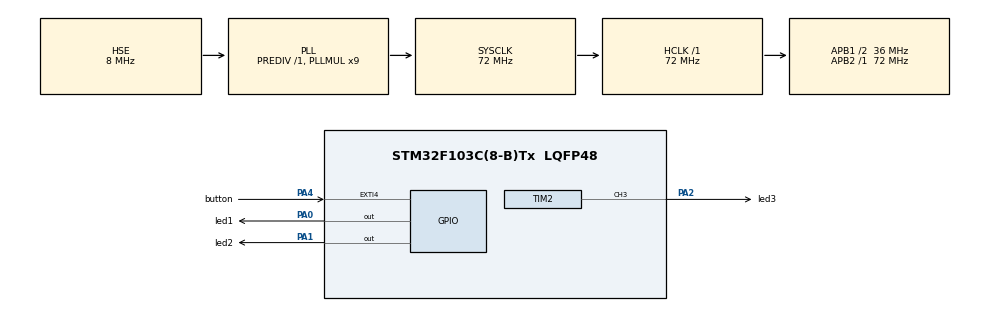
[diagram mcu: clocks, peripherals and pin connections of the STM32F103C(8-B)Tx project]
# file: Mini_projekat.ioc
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Mcu.Family=STM32F1
Mcu.Name=STM32F103C(8-B)Tx
Mcu.Package=LQFP48
NVIC.EXTI4_IRQn=true\:0\:0\:false\:false\:true\:true\:true\:true
NVIC.PriorityGroup=NVIC_PRIORITYGROUP_4
NVIC.TIM1_UP_IRQn=true\:0\:0\:false\:false\:true\:true\:true\:true
NVIC.TIM2_IRQn=true\:0\:0\:false\:false\:true\:true\:true\:true
PA0-WKUP.GPIO_Label=led1
PA0-WKUP.Signal=GPIO_Output
PA1.GPIO_Label=led2
PA1.Signal=GPIO_Output
PA13.Mode=Serial_Wire
PA13.Signal=SYS_JTMS-SWDIO
PA14.Mode=Serial_Wire
PA14.Signal=SYS_JTCK-SWCLK
PA2.GPIO_Label=led3
PA2.Signal=S_TIM2_CH3
PA4.GPIO_Label=button
PA4.GPIO_ModeDefaultEXTI=GPIO_MODE_IT_RISING_FALLING
PA4.GPIO_PuPd=GPIO_PULLDOWN
PA4.Signal=GPXTI4
PD0-OSC_IN.Mode=HSE-External-Oscillator
PD0-OSC_IN.Signal=RCC_OSC_IN
PD1-OSC_OUT.Mode=HSE-External-Oscillator
PD1-OSC_OUT.Signal=RCC_OSC_OUT
ProjectManager.HeapSize=0x200
ProjectManager.StackSize=0x400
ProjectManager.TargetToolchain=STM32CubeIDE
RCC.AHBFreq_Value=72000000
RCC.APB1CLKDivider=RCC_HCLK_DIV2
RCC.APB1Freq_Value=36000000
RCC.APB1TimFreq_Value=72000000
RCC.APB2Freq_Value=72000000
RCC.APB2TimFreq_Value=72000000
RCC.HCLKFreq_Value=72000000
RCC.PLLMUL=RCC_PLL_MUL9
RCC.PLLSourceVirtual=RCC_PLLSOURCE_HSE
RCC.SYSCLKFreq_VALUE=72000000
RCC.SYSCLKSource=RCC_SYSCLKSOURCE_PLLCLK
RCC.USBFreq_Value=72000000
SH.S_TIM2_CH3.0=TIM2_CH3,PWM Generation3 CH3
TIM1.Period=4000-1
TIM1.Prescaler=36000-1
TIM2.Channel-PWM\ Generation3\ CH3=TIM_CHANNEL_3
TIM2.Period=1000-1
TIM2.Prescaler=72-1
VP_TIM1_VS_ClockSourceINT.Mode=Internal
VP_TIM2_VS_ClockSourceINT.Mode=Internal
board=custom

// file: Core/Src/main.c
/* USER CODE BEGIN Header */
/**
  ******************************************************************************
  * @file           : main.c
  * @brief          : Main program body
  ******************************************************************************
  * @attention
  *
  * Copyright (c) 2023 STMicroelectronics.
  * All rights reserved.
  *
  * This software is licensed under terms that can be found in the LICENSE file
  * in the root directory of this software component.
  * If no LICENSE file comes with this software, it is provided AS-IS.
  *
  ******************************************************************************
  */
/* USER CODE END Header */
#include "main.h"

TIM_HandleTypeDef htim1;
TIM_HandleTypeDef htim2;

/* USER CODE BEGIN PV */
const uint32_t MAX_COUNT = 100; //pitaj cemu ovo sluzi
uint32_t INCREMENT = 100;
uint32_t count = 0;
int32_t value = 0;
/* USER CODE END PV */

void SystemClock_Config(void);
static void MX_GPIO_Init(void);
static void MX_TIM1_Init(void);
static void MX_TIM2_Init(void);

int main(void)
{

  /* MCU Configuration--------------------------------------------------------*/

  /* Reset of all peripherals, Initializes the Flash interface and the Systick. */
  HAL_Init();

  /* Configure the system clock */
  SystemClock_Config();

  /* Initialize all configured peripherals */
  MX_GPIO_Init();
  MX_TIM1_Init();
  MX_TIM2_Init();
  /* USER CODE BEGIN 2 */
  __HAL_TIM_CLEAR_IT(&htim1, TIM_IT_UPDATE);
  HAL_TIM_Base_Start_IT(&htim2);
  HAL_TIM_OC_Start(&htim2, TIM_CHANNEL_3); //ide na ch3 jer smo diodu 3 stavili na taj kanal 3
  /* USER CODE END 2 */

  /* Infinite loop */
  while (1)
  {

    /* USER CODE BEGIN 3 */
	  HAL_GPIO_TogglePin(led1_GPIO_Port, led1_Pin);
	  HAL_Delay(500);
  }
  /* USER CODE END 3 */
}

void SystemClock_Config(void)
{
  RCC_OscInitTypeDef RCC_OscInitStruct = {0};
  RCC_ClkInitTypeDef RCC_ClkInitStruct = {0};

  /** Initializes the RCC Oscillators according to the specified parameters
  * in the RCC_OscInitTypeDef structure.
  */
  RCC_OscInitStruct.OscillatorType = RCC_OSCILLATORTYPE_HSE;
  RCC_OscInitStruct.HSEState = RCC_HSE_ON;
  RCC_OscInitStruct.HSEPredivValue = RCC_HSE_PREDIV_DIV1;
  RCC_OscInitStruct.HSIState = RCC_HSI_ON;
  RCC_OscInitStruct.PLL.PLLState = RCC_PLL_ON;
  RCC_OscInitStruct.PLL.PLLSource = RCC_PLLSOURCE_HSE;
  RCC_OscInitStruct.PLL.PLLMUL = RCC_PLL_MUL9;
  if (HAL_RCC_OscConfig(&RCC_OscInitStruct) != HAL_OK)
  {
    Error_Handler();
  }

  /** Initializes the CPU, AHB and APB buses clocks
  */
  RCC_ClkInitStruct.ClockType = RCC_CLOCKTYPE_HCLK|RCC_CLOCKTYPE_SYSCLK
                              |RCC_CLOCKTYPE_PCLK1|RCC_CLOCKTYPE_PCLK2;
  RCC_ClkInitStruct.SYSCLKSource = RCC_SYSCLKSOURCE_PLLCLK;
  RCC_ClkInitStruct.AHBCLKDivider = RCC_SYSCLK_DIV1;
  RCC_ClkInitStruct.APB1CLKDivider = RCC_HCLK_DIV2;
  RCC_ClkInitStruct.APB2CLKDivider = RCC_HCLK_DIV1;

  if (HAL_RCC_ClockConfig(&RCC_ClkInitStruct, FLASH_LATENCY_2) != HAL_OK)
  {
    Error_Handler();
  }
}

static void MX_TIM1_Init(void)
{

  TIM_ClockConfigTypeDef sClockSourceConfig = {0};
  TIM_MasterConfigTypeDef sMasterConfig = {0};

  htim1.Instance = TIM1;
  htim1.Init.Prescaler = 36000-1;
  htim1.Init.CounterMode = TIM_COUNTERMODE_UP;
  htim1.Init.Period = 4000-1;
  htim1.Init.ClockDivision = TIM_CLOCKDIVISION_DIV1;
  htim1.Init.RepetitionCounter = 0;
  htim1.Init.AutoReloadPreload = TIM_AUTORELOAD_PRELOAD_DISABLE;
  if (HAL_TIM_Base_Init(&htim1) != HAL_OK)
  {
    Error_Handler();
  }
  sClockSourceConfig.ClockSource = TIM_CLOCKSOURCE_INTERNAL;
  if (HAL_TIM_ConfigClockSource(&htim1, &sClockSourceConfig) != HAL_OK)
  {
    Error_Handler();
  }
  sMasterConfig.MasterOutputTrigger = TIM_TRGO_RESET;
  sMasterConfig.MasterSlaveMode = TIM_MASTERSLAVEMODE_DISABLE;
  if (HAL_TIMEx_MasterConfigSynchronization(&htim1, &sMasterConfig) != HAL_OK)
  {
    Error_Handler();
  }

}

static void MX_TIM2_Init(void)
{

  TIM_ClockConfigTypeDef sClockSourceConfig = {0};
  TIM_MasterConfigTypeDef sMasterConfig = {0};
  TIM_OC_InitTypeDef sConfigOC = {0};

  htim2.Instance = TIM2;
  htim2.Init.Prescaler = 72-1;
  htim2.Init.CounterMode = TIM_COUNTERMODE_UP;
  htim2.Init.Period = 1000-1;
  htim2.Init.ClockDivision = TIM_CLOCKDIVISION_DIV1;
  htim2.Init.AutoReloadPreload = TIM_AUTORELOAD_PRELOAD_DISABLE;
  if (HAL_TIM_Base_Init(&htim2) != HAL_OK)
  {
    Error_Handler();
  }
  sClockSourceConfig.ClockSource = TIM_CLOCKSOURCE_INTERNAL;
  if (HAL_TIM_ConfigClockSource(&htim2, &sClockSourceConfig) != HAL_OK)
  {
    Error_Handler();
  }
  if (HAL_TIM_PWM_Init(&htim2) != HAL_OK)
  {
    Error_Handler();
  }
  sMasterConfig.MasterOutputTrigger = TIM_TRGO_RESET;
  sMasterConfig.MasterSlaveMode = TIM_MASTERSLAVEMODE_DISABLE;
  if (HAL_TIMEx_MasterConfigSynchronization(&htim2, &sMasterConfig) != HAL_OK)
  {
    Error_Handler();
  }
  sConfigOC.OCMode = TIM_OCMODE_PWM1;
  sConfigOC.Pulse = 0;
  sConfigOC.OCPolarity = TIM_OCPOLARITY_HIGH;
  sConfigOC.OCFastMode = TIM_OCFAST_DISABLE;
  if (HAL_TIM_PWM_ConfigChannel(&htim2, &sConfigOC, TIM_CHANNEL_3) != HAL_OK)
  {
    Error_Handler();
  }
  HAL_TIM_MspPostInit(&htim2);

}

static void MX_GPIO_Init(void)
{
  GPIO_InitTypeDef GPIO_InitStruct = {0};

  /* GPIO Ports Clock Enable */
  __HAL_RCC_GPIOD_CLK_ENABLE();
  __HAL_RCC_GPIOA_CLK_ENABLE();

  /*Configure GPIO pin Output Level */
  HAL_GPIO_WritePin(GPIOA, led1_Pin|led2_Pin, GPIO_PIN_RESET);

  /*Configure GPIO pins : led1_Pin led2_Pin */
  GPIO_InitStruct.Pin = led1_Pin|led2_Pin;
  GPIO_InitStruct.Mode = GPIO_MODE_OUTPUT_PP;
  GPIO_InitStruct.Pull = GPIO_NOPULL;
  GPIO_InitStruct.Speed = GPIO_SPEED_FREQ_LOW;
  HAL_GPIO_Init(GPIOA, &GPIO_InitStruct);

  /*Configure GPIO pin : button_Pin */
  GPIO_InitStruct.Pin = button_Pin;
  GPIO_InitStruct.Mode = GPIO_MODE_IT_RISING_FALLING;
  GPIO_InitStruct.Pull = GPIO_PULLDOWN;
  HAL_GPIO_Init(button_GPIO_Port, &GPIO_InitStruct);

  /* EXTI interrupt init*/
  HAL_NVIC_SetPriority(EXTI4_IRQn, 0, 0);
  HAL_NVIC_EnableIRQ(EXTI4_IRQn);

}

/* USER CODE BEGIN 4 */
void HAL_GPIO_EXTI_Callback(uint16_t GPIO_Pin)
{
	if(GPIO_Pin == button_Pin)
	{
		if(HAL_GPIO_ReadPin(button_GPIO_Port, button_Pin) == GPIO_PIN_SET)
		{
			HAL_TIM_Base_Start_IT(&htim1);
		}
		else
		{
			HAL_TIM_Base_Stop_IT(&htim1);  //pitaj kako funkcionise ovaj deo koda, sve unutar else-a
			htim1.Instance->CR1 |= TIM_CR1_UDIS;
			htim1.Instance->EGR  = TIM_EGR_UG;
			htim1.Instance->CR1 &= ~TIM_CR1_UDIS;
			HAL_GPIO_WritePin(led2_GPIO_Port, led2_Pin, GPIO_PIN_SET);
		}
	}
}
void HAL_TIM_PeriodElapsedCallback(TIM_HandleTypeDef* htim)
{
	if(htim == &htim1)
	{
		HAL_GPIO_WritePin(led2_GPIO_Port, led2_Pin, GPIO_PIN_RESET);
	}
	else if (htim == &htim2)
	{
		count++;
		if(count == MAX_COUNT)
		{
			count = 0;
			value += INCREMENT;
			if(value > 1000 || value < 0)
			{
				INCREMENT = - INCREMENT;
				value += 2 * INCREMENT;
			}
			htim2.Instance->CCR3 = value;
		}
	}
}
/* USER CODE END 4 */

void Error_Handler(void)
{
  __disable_irq();
  while (1)
  {
  }
}
